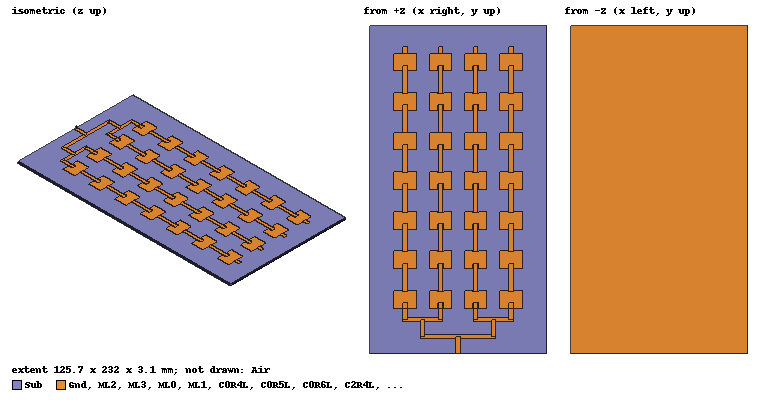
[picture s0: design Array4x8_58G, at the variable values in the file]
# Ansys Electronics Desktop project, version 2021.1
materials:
  vacuum: permittivity=1
  FR4_epoxy: permittivity=4.4 dielectric_loss_tangent=0.02

design Array4x8_58G (HFSS, DrivenModal, model units mm)
options: Save_Adaptive_support_files
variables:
  Lp = 12.5mm
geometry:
  Sub [FR4_epoxy] = box(corner=(0mm, 0mm, -1.6mm), size=(125.74mm, 232mm, 1.6mm))
  Gnd = rectangle(corner=(0mm, 0mm, -1.6mm), x_size=125.74mm, y_size=232mm)
  FeedIn = rectangle(corner=(61.32mm, 0mm, 0mm), x_size=3.1mm, y_size=12mm)
  J1h = rectangle(corner=(36.32mm, 10.45mm, 0mm), x_size=53.1mm, y_size=3.1mm)
  J1vl = rectangle(corner=(36.32mm, 12mm, 0mm), x_size=3.1mm, y_size=12mm)
  J1vr = rectangle(corner=(86.32mm, 12mm, 0mm), x_size=3.1mm, y_size=12mm)
  J2hL = rectangle(corner=(23.82mm, 22.45mm, 0mm), x_size=28.1mm, y_size=3.1mm)
  J2hR = rectangle(corner=(73.82mm, 22.45mm, 0mm), x_size=28.1mm, y_size=3.1mm)
  Cv0 = rectangle(corner=(23.82mm, 24mm, 0mm), x_size=3.1mm, y_size=8mm)
  Cv1 = rectangle(corner=(48.82mm, 24mm, 0mm), x_size=3.1mm, y_size=8mm)
  Cv2 = rectangle(corner=(73.82mm, 24mm, 0mm), x_size=3.1mm, y_size=8mm)
  Cv3 = rectangle(corner=(98.82mm, 24mm, 0mm), x_size=3.1mm, y_size=8mm)
  ML0 = rectangle(corner=(23.82mm, 32mm, 0mm), x_size=3.1mm, y_size=185mm)
  C0R0L = rectangle(corner=(17.5mm, 32mm, 0mm), x_size=5.82mm, y_size=Lp)
  C0R0R = rectangle(corner=(27.42mm, 32mm, 0mm), x_size=5.82mm, y_size=Lp)
  C0R0T = rectangle(corner=(17.5mm, 36mm, 0mm), x_size=15.74mm, y_size=8mm)
  C0R0L.unite(C0R0R, C0R0T)
  C0R1L = rectangle(corner=(17.5mm, 60mm, 0mm), x_size=5.82mm, y_size=Lp)
  C0R1R = rectangle(corner=(27.42mm, 60mm, 0mm), x_size=5.82mm, y_size=Lp)
  C0R1T = rectangle(corner=(17.5mm, 64mm, 0mm), x_size=15.74mm, y_size=8mm)
  C0R1L.unite(C0R1R, C0R1T)
  C0R2L = rectangle(corner=(17.5mm, 88mm, 0mm), x_size=5.82mm, y_size=Lp)
  C0R2R = rectangle(corner=(27.42mm, 88mm, 0mm), x_size=5.82mm, y_size=Lp)
  C0R2T = rectangle(corner=(17.5mm, 92mm, 0mm), x_size=15.74mm, y_size=8mm)
  C0R2L.unite(C0R2R, C0R2T)
  C0R3L = rectangle(corner=(17.5mm, 116mm, 0mm), x_size=5.82mm, y_size=Lp)
  C0R3R = rectangle(corner=(27.42mm, 116mm, 0mm), x_size=5.82mm, y_size=Lp)
  C0R3T = rectangle(corner=(17.5mm, 120mm, 0mm), x_size=15.74mm, y_size=8mm)
  C0R3L.unite(C0R3R, C0R3T)
  C0R4L = rectangle(corner=(17.5mm, 144mm, 0mm), x_size=5.82mm, y_size=Lp)
  C0R4R = rectangle(corner=(27.42mm, 144mm, 0mm), x_size=5.82mm, y_size=Lp)
  C0R4T = rectangle(corner=(17.5mm, 148mm, 0mm), x_size=15.74mm, y_size=8mm)
  C0R4L.unite(C0R4R, C0R4T)
  C0R5L = rectangle(corner=(17.5mm, 172mm, 0mm), x_size=5.82mm, y_size=Lp)
  C0R5R = rectangle(corner=(27.42mm, 172mm, 0mm), x_size=5.82mm, y_size=Lp)
  C0R5T = rectangle(corner=(17.5mm, 176mm, 0mm), x_size=15.74mm, y_size=8mm)
  C0R5L.unite(C0R5R, C0R5T)
  C0R6L = rectangle(corner=(17.5mm, 200mm, 0mm), x_size=5.82mm, y_size=Lp)
  C0R6R = rectangle(corner=(27.42mm, 200mm, 0mm), x_size=5.82mm, y_size=Lp)
  C0R6T = rectangle(corner=(17.5mm, 204mm, 0mm), x_size=15.74mm, y_size=8mm)
  C0R6L.unite(C0R6R, C0R6T)
  ML1 = rectangle(corner=(48.82mm, 32mm, 0mm), x_size=3.1mm, y_size=185mm)
  C1R0L = rectangle(corner=(42.5mm, 32mm, 0mm), x_size=5.82mm, y_size=Lp)
  C1R0R = rectangle(corner=(52.42mm, 32mm, 0mm), x_size=5.82mm, y_size=Lp)
  C1R0T = rectangle(corner=(42.5mm, 36mm, 0mm), x_size=15.74mm, y_size=8mm)
  C1R0L.unite(C1R0R, C1R0T)
  C1R1L = rectangle(corner=(42.5mm, 60mm, 0mm), x_size=5.82mm, y_size=Lp)
  C1R1R = rectangle(corner=(52.42mm, 60mm, 0mm), x_size=5.82mm, y_size=Lp)
  C1R1T = rectangle(corner=(42.5mm, 64mm, 0mm), x_size=15.74mm, y_size=8mm)
  C1R1L.unite(C1R1R, C1R1T)
  C1R2L = rectangle(corner=(42.5mm, 88mm, 0mm), x_size=5.82mm, y_size=Lp)
  C1R2R = rectangle(corner=(52.42mm, 88mm, 0mm), x_size=5.82mm, y_size=Lp)
  C1R2T = rectangle(corner=(42.5mm, 92mm, 0mm), x_size=15.74mm, y_size=8mm)
  C1R2L.unite(C1R2R, C1R2T)
  C1R3L = rectangle(corner=(42.5mm, 116mm, 0mm), x_size=5.82mm, y_size=Lp)
  C1R3R = rectangle(corner=(52.42mm, 116mm, 0mm), x_size=5.82mm, y_size=Lp)
  C1R3T = rectangle(corner=(42.5mm, 120mm, 0mm), x_size=15.74mm, y_size=8mm)
  C1R3L.unite(C1R3R, C1R3T)
  C1R4L = rectangle(corner=(42.5mm, 144mm, 0mm), x_size=5.82mm, y_size=Lp)
  C1R4R = rectangle(corner=(52.42mm, 144mm, 0mm), x_size=5.82mm, y_size=Lp)
  C1R4T = rectangle(corner=(42.5mm, 148mm, 0mm), x_size=15.74mm, y_size=8mm)
  C1R4L.unite(C1R4R, C1R4T)
  C1R5L = rectangle(corner=(42.5mm, 172mm, 0mm), x_size=5.82mm, y_size=Lp)
  C1R5R = rectangle(corner=(52.42mm, 172mm, 0mm), x_size=5.82mm, y_size=Lp)
  C1R5T = rectangle(corner=(42.5mm, 176mm, 0mm), x_size=15.74mm, y_size=8mm)
  C1R5L.unite(C1R5R, C1R5T)
  C1R6L = rectangle(corner=(42.5mm, 200mm, 0mm), x_size=5.82mm, y_size=Lp)
  C1R6R = rectangle(corner=(52.42mm, 200mm, 0mm), x_size=5.82mm, y_size=Lp)
  C1R6T = rectangle(corner=(42.5mm, 204mm, 0mm), x_size=15.74mm, y_size=8mm)
  C1R6L.unite(C1R6R, C1R6T)
  ML2 = rectangle(corner=(73.82mm, 32mm, 0mm), x_size=3.1mm, y_size=185mm)
  C2R0L = rectangle(corner=(67.5mm, 32mm, 0mm), x_size=5.82mm, y_size=Lp)
  C2R0R = rectangle(corner=(77.42mm, 32mm, 0mm), x_size=5.82mm, y_size=Lp)
  C2R0T = rectangle(corner=(67.5mm, 36mm, 0mm), x_size=15.74mm, y_size=8mm)
  C2R0L.unite(C2R0R, C2R0T)
  C2R1L = rectangle(corner=(67.5mm, 60mm, 0mm), x_size=5.82mm, y_size=Lp)
  C2R1R = rectangle(corner=(77.42mm, 60mm, 0mm), x_size=5.82mm, y_size=Lp)
  C2R1T = rectangle(corner=(67.5mm, 64mm, 0mm), x_size=15.74mm, y_size=8mm)
  C2R1L.unite(C2R1R, C2R1T)
  C2R2L = rectangle(corner=(67.5mm, 88mm, 0mm), x_size=5.82mm, y_size=Lp)
  C2R2R = rectangle(corner=(77.42mm, 88mm, 0mm), x_size=5.82mm, y_size=Lp)
  C2R2T = rectangle(corner=(67.5mm, 92mm, 0mm), x_size=15.74mm, y_size=8mm)
  C2R2L.unite(C2R2R, C2R2T)
  C2R3L = rectangle(corner=(67.5mm, 116mm, 0mm), x_size=5.82mm, y_size=Lp)
  C2R3R = rectangle(corner=(77.42mm, 116mm, 0mm), x_size=5.82mm, y_size=Lp)
  C2R3T = rectangle(corner=(67.5mm, 120mm, 0mm), x_size=15.74mm, y_size=8mm)
  C2R3L.unite(C2R3R, C2R3T)
  C2R4L = rectangle(corner=(67.5mm, 144mm, 0mm), x_size=5.82mm, y_size=Lp)
  C2R4R = rectangle(corner=(77.42mm, 144mm, 0mm), x_size=5.82mm, y_size=Lp)
  C2R4T = rectangle(corner=(67.5mm, 148mm, 0mm), x_size=15.74mm, y_size=8mm)
  C2R4L.unite(C2R4R, C2R4T)
  C2R5L = rectangle(corner=(67.5mm, 172mm, 0mm), x_size=5.82mm, y_size=Lp)
  C2R5R = rectangle(corner=(77.42mm, 172mm, 0mm), x_size=5.82mm, y_size=Lp)
  C2R5T = rectangle(corner=(67.5mm, 176mm, 0mm), x_size=15.74mm, y_size=8mm)
  C2R5L.unite(C2R5R, C2R5T)
  C2R6L = rectangle(corner=(67.5mm, 200mm, 0mm), x_size=5.82mm, y_size=Lp)
  C2R6R = rectangle(corner=(77.42mm, 200mm, 0mm), x_size=5.82mm, y_size=Lp)
  C2R6T = rectangle(corner=(67.5mm, 204mm, 0mm), x_size=15.74mm, y_size=8mm)
  C2R6L.unite(C2R6R, C2R6T)
  ML3 = rectangle(corner=(98.82mm, 32mm, 0mm), x_size=3.1mm, y_size=185mm)
  C3R0L = rectangle(corner=(92.5mm, 32mm, 0mm), x_size=5.82mm, y_size=Lp)
  C3R0R = rectangle(corner=(102.42mm, 32mm, 0mm), x_size=5.82mm, y_size=Lp)
  C3R0T = rectangle(corner=(92.5mm, 36mm, 0mm), x_size=15.74mm, y_size=8mm)
  C3R0L.unite(C3R0R, C3R0T)
  C3R1L = rectangle(corner=(92.5mm, 60mm, 0mm), x_size=5.82mm, y_size=Lp)
  C3R1R = rectangle(corner=(102.42mm, 60mm, 0mm), x_size=5.82mm, y_size=Lp)
  C3R1T = rectangle(corner=(92.5mm, 64mm, 0mm), x_size=15.74mm, y_size=8mm)
  C3R1L.unite(C3R1R, C3R1T)
  C3R2L = rectangle(corner=(92.5mm, 88mm, 0mm), x_size=5.82mm, y_size=Lp)
  C3R2R = rectangle(corner=(102.42mm, 88mm, 0mm), x_size=5.82mm, y_size=Lp)
  C3R2T = rectangle(corner=(92.5mm, 92mm, 0mm), x_size=15.74mm, y_size=8mm)
  C3R2L.unite(C3R2R, C3R2T)
  C3R3L = rectangle(corner=(92.5mm, 116mm, 0mm), x_size=5.82mm, y_size=Lp)
  C3R3R = rectangle(corner=(102.42mm, 116mm, 0mm), x_size=5.82mm, y_size=Lp)
  C3R3T = rectangle(corner=(92.5mm, 120mm, 0mm), x_size=15.74mm, y_size=8mm)
  C3R3L.unite(C3R3R, C3R3T)
  C3R4L = rectangle(corner=(92.5mm, 144mm, 0mm), x_size=5.82mm, y_size=Lp)
  C3R4R = rectangle(corner=(102.42mm, 144mm, 0mm), x_size=5.82mm, y_size=Lp)
  C3R4T = rectangle(corner=(92.5mm, 148mm, 0mm), x_size=15.74mm, y_size=8mm)
  C3R4L.unite(C3R4R, C3R4T)
  C3R5L = rectangle(corner=(92.5mm, 172mm, 0mm), x_size=5.82mm, y_size=Lp)
  C3R5R = rectangle(corner=(102.42mm, 172mm, 0mm), x_size=5.82mm, y_size=Lp)
  C3R5T = rectangle(corner=(92.5mm, 176mm, 0mm), x_size=15.74mm, y_size=8mm)
  C3R5L.unite(C3R5R, C3R5T)
  C3R6L = rectangle(corner=(92.5mm, 200mm, 0mm), x_size=5.82mm, y_size=Lp)
  C3R6R = rectangle(corner=(102.42mm, 200mm, 0mm), x_size=5.82mm, y_size=Lp)
  C3R6T = rectangle(corner=(92.5mm, 204mm, 0mm), x_size=15.74mm, y_size=8mm)
  C3R6L.unite(C3R6R, C3R6T)
  Port1 = rectangle(corner=(61.32mm, 0mm, -1.6mm), z_size=3.1mm, x_size=1.6mm)
  Air [vacuum] = box(corner=(-15mm, -15mm, -16.6mm), size=(155.74mm, 262mm, 31.6mm))
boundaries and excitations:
  PE1: Perfect E Objects=Gnd
  PE2: Perfect E Objects=FeedIn
  PE3: Perfect E Objects=J1h
  PE4: Perfect E Objects=J1vl
  PE5: Perfect E Objects=J1vr
  PE6: Perfect E Objects=J2hL
  PE7: Perfect E Objects=J2hR
  PE8: Perfect E Objects=Cv0
  PE9: Perfect E Objects=Cv1
  PE10: Perfect E Objects=Cv2
  PE11: Perfect E Objects=Cv3
  PE12: Perfect E Objects=ML0
  PE13: Perfect E Objects=C0R0L
  PE14: Perfect E Objects=C0R1L
  PE15: Perfect E Objects=C0R2L
  PE16: Perfect E Objects=C0R3L
  PE17: Perfect E Objects=C0R4L
  PE18: Perfect E Objects=C0R5L
  PE19: Perfect E Objects=C0R6L
  PE20: Perfect E Objects=ML1
  PE21: Perfect E Objects=C1R0L
  PE22: Perfect E Objects=C1R1L
  PE23: Perfect E Objects=C1R2L
  PE24: Perfect E Objects=C1R3L
  PE25: Perfect E Objects=C1R4L
  PE26: Perfect E Objects=C1R5L
  PE27: Perfect E Objects=C1R6L
  PE28: Perfect E Objects=ML2
  PE29: Perfect E Objects=C2R0L
  PE30: Perfect E Objects=C2R1L
  PE31: Perfect E Objects=C2R2L
  PE32: Perfect E Objects=C2R3L
  PE33: Perfect E Objects=C2R4L
  PE34: Perfect E Objects=C2R5L
  PE35: Perfect E Objects=C2R6L
  PE36: Perfect E Objects=ML3
  PE37: Perfect E Objects=C3R0L
  PE38: Perfect E Objects=C3R1L
  PE39: Perfect E Objects=C3R2L
  PE40: Perfect E Objects=C3R3L
  PE41: Perfect E Objects=C3R4L
  PE42: Perfect E Objects=C3R5L
  PE43: Perfect E Objects=C3R6L
  Rad: Radiation Objects=Air
  1: Lumped Port Objects=Port1 Modes{Mode1{IntLine{Port1.edge(z at corner) at 0.0313 along -> middle of FeedIn.edge(y at corner)} CharImp=Zpi RenormImp=50ohm}} Impedance=50ohm
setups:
  Setup1: HfssDriven Frequency=5.8GHz MaxDeltaS=0.01 MaximumPasses=20 MinimumPasses=1 MinimumConvergedPasses=1 PercentRefinement=30 BasisOrder=1 PortAccuracy=2
    sweep Sweep: 5GHz to 7GHz, 201 points; Type=Interpolating InterpTolerance=0.5 InterpMaxSolns=250 InterpUsePortImped=false PassivityErrorTolerance=0.0001
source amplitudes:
  1:1: 1W 0deg
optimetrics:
  ParametricSetup1: Parametric Sim._Setups=[Setup1]
    sweep Lp: LIN 11.5mm 12.5mm 0.1mm
  ParametricSetup2: Parametric Sim._Setups=[Setup1]
    sweep Lp: LIN 12.5mm 12.6mm 0.02mm
  ParametricSetup3: Parametric Sim._Setups=[Setup1]
    sweep Lp: LIN 12.4mm 12.5mm 0.02mm
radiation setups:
  Infinite Sphere1: Infinite Sphere Theta=0deg..180deg step 2deg Phi=-180deg..180deg step 2deg
  Infinite Sphere2E: Infinite Sphere Theta=-180deg..180deg step 2deg Phi=90deg..90deg step 2deg
  Infinite Sphere2H: Infinite Sphere Theta=-180deg..180deg step 2deg Phi=0deg..0deg step 2deg
  Infinite Sphere2: Infinite Sphere Theta=-90deg..90deg step 0.5deg Phi=0deg..0deg step 2deg
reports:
  S Parameter Plot 1: dB(S(1,1)) vs Freq on Setup1 : Sweep [Lp=all]; markers m1 at 5.91GHz, m2 at 5.9GHz, m3 at 5.7GHz, MX1 at x=5.7973597e+09
  Gain Plot 1:
  S Parameter Plot 2: dB(S(1,1)) vs Freq on Setup1 : Sweep [Lp=12.6mm]; markers m2 at 5.59GHz, m3 at 5.81GHz, m4 at 5.79GHz, m5 at 6.05GHz, m6 at 6.06GHz, m7 at 6.11GHz, m8 at 6.13GHz, m9 at 6.15GHz, m10 at 6.06GHz, m11 at 6.08GHz, m12 at 6.1GHz
  S Parameter Plot 3: dB(S(1,1)) vs Freq on Setup1 : Sweep [Lp=12.7mm]; markers m1 at 5.69GHz, m2 at 5.71GHz, m3 at 5.7GHz, m4 at 5.8GHz, m5 at 5.91GHz, m6 at 5.9GHz
  S Parameter Plot 4: dB(S(1,1)) vs Freq on Setup1 : Sweep [Lp=12.5mm,12.52mm,12.54mm,12.56mm,12.58mm,12.6mm]; markers m1 at 5.9GHz, MX1 at x=5.8000219e+09
  S Parameter Plot 5: dB(S(1,1)) vs Freq on Setup1 : Sweep [Lp=12.4mm,12.42mm,12.44mm,12.46mm,12.48mm,12.5mm]; markers MX1 at x=5.799851e+09
  Gain Plot 3: GainTotal vs Theta on Setup1 : LastAdaptive, Infinite Sphere2E [Phi=all Freq=5.8GHz Lp=all]; markers m1 at 38deg, MY1 at y=12.2396
  Gain Plot 8: GainTotal vs Phi, Theta on Setup1 : LastAdaptive, Infinite Sphere1 [Freq=5.8GHz Lp=12.5mm]
  Gain Plot 9:
  Gain Plot 10: GainTotal vs Theta on Setup1 : LastAdaptive, Infinite Sphere2H [Phi=all Freq=5.8GHz Lp=all]; markers m1 at -28deg, m2 at 36deg
